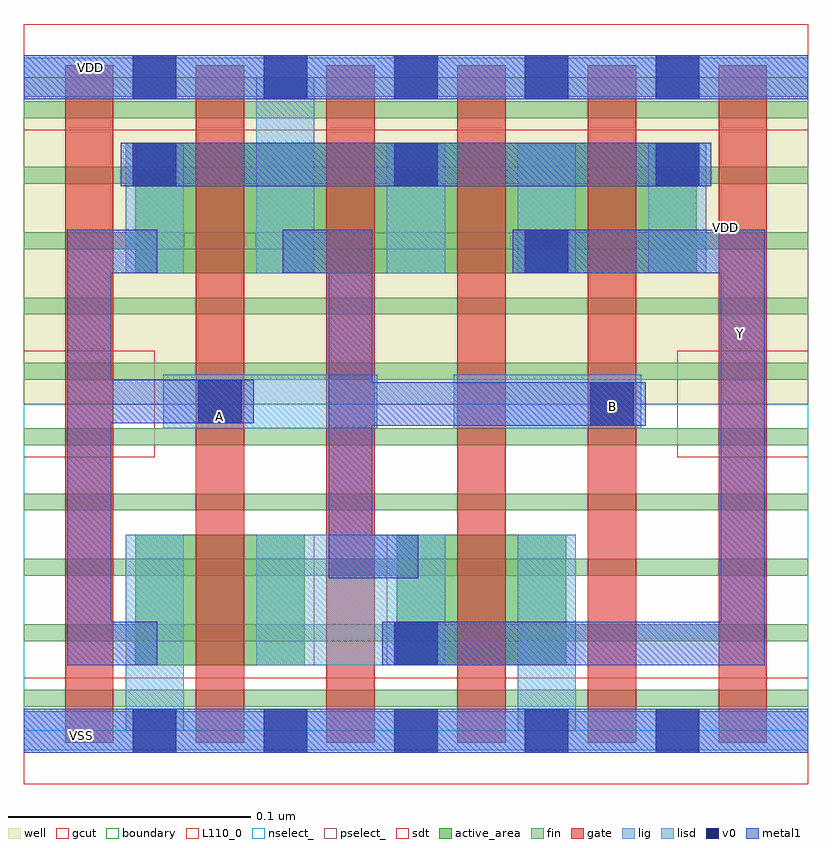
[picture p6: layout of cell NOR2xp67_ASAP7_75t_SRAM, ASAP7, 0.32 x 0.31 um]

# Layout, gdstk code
import gdstk
lib = gdstk.Library(unit=1e-6, precision=2.5e-10)
def R(c, l, rs):  # rectangles x0, y0, x1, y1
    for r in rs: c.add(gdstk.rectangle(r[:2], r[2:], *l))
def A(c, l, x, y, w, h, nx, ny, dx, dy):  # array of equal rectangles
    R(c, l, [(x+i*dx, y+j*dy, x+i*dx+w, y+j*dy+h) for i in range(nx) for j in range(ny)])
def P(c, l, *ps):  # polygons
    for p in ps: c.add(gdstk.Polygon(p, *l))
well = (1, 0)
fin = (2, 0)
gate = (7, 0)
gcut = (10, 0)
active_area = (11, 0)
nselect_ = (12, 0)
pselect_ = (13, 0)
lig = (16, 0)
lisd = (17, 0)
v0 = (18, 0)
metal1 = (19, 0)
sdt = (88, 0)
boundary = (100, 0)
L110_0 = (110, 0)

nor2xp67_asap7_75t_sram = lib.new_cell('NOR2xp67_ASAP7_75t_SRAM')
R(nor2xp67_asap7_75t_sram, well, [(0,0.135,0.324,0.27)])
A(nor2xp67_asap7_75t_sram, fin, 0, 0.01, 0.324, 0.007, 1, 10, 0, 0.027)
A(nor2xp67_asap7_75t_sram, gate, 0.017, -0.005, 0.02, 0.28, 6, 1, 0.054, 0)
R(nor2xp67_asap7_75t_sram, gcut, [(0,-0.022,0.324,0.022), (0,0.113,0.054,0.157), (0.27,0.113,0.324,0.157), (0,0.248,0.324,0.292)])
R(nor2xp67_asap7_75t_sram, active_area, [(0.046,0.027,0.116,0.081), (0.154,0.027,0.224,0.081), (0.046,0.189,0.278,0.243)])
R(nor2xp67_asap7_75t_sram, nselect_, [(0,0,0.324,0.135)])
R(nor2xp67_asap7_75t_sram, pselect_, [(0,0.135,0.324,0.27)])
R(nor2xp67_asap7_75t_sram, lig, [(0,-0.008,0.324,0.008), (0.0575,0.125,0.146,0.147), (0.1775,0.125,0.255,0.147), (0,0.262,0.324,0.278)])
A(nor2xp67_asap7_75t_sram, lisd, 0.15, 0.189, 0.024, 0.054, 3, 1, 0.054, 0)
R(nor2xp67_asap7_75t_sram, lisd, [(0.042,0,0.066,0.081), (0.204,0,0.228,0.081), (0.096,0.027,0.174,0.081), (0.042,0.189,0.066,0.243), (0.096,0.189,0.12,0.27)])
A(nor2xp67_asap7_75t_sram, v0, 0.045, -0.009, 0.018, 0.018, 5, 2, 0.054, 0.27)
A(nor2xp67_asap7_75t_sram, v0, 0.045, 0.225, 0.018, 0.018, 3, 1, 0.108, 0)
R(nor2xp67_asap7_75t_sram, v0, [(0.153,0.027,0.171,0.045), (0.234,0.126,0.252,0.144), (0.072,0.127,0.09,0.145), (0.207,0.189,0.225,0.207)])
R(nor2xp67_asap7_75t_sram, metal1, [(0,-0.009,0.324,0.009), (0.04,0.225,0.284,0.243), (0,0.261,0.324,0.279)])
P(nor2xp67_asap7_75t_sram, metal1, [(0.095,0.145),(0.036,0.145),(0.036,0.189),(0.055,0.189),(0.055,0.207),(0.018,0.207),(0.018,0.027),(0.055,0.027),(0.055,0.045),(0.036,0.045),(0.036,0.127),(0.095,0.127)],
  [(0.257,0.144),(0.144,0.144),(0.144,0.207),(0.107,0.207),(0.107,0.189),(0.126,0.189),(0.126,0.063),(0.163,0.063),(0.163,0.081),(0.144,0.081),(0.144,0.126),(0.257,0.126)],
  [(0.306,0.207),(0.202,0.207),(0.202,0.189),(0.288,0.189),(0.288,0.045),(0.148,0.045),(0.148,0.027),(0.306,0.027)])
A(nor2xp67_asap7_75t_sram, sdt, 0.042, 0.027, 0.024, 0.054, 4, 1, 0.054, 0)
A(nor2xp67_asap7_75t_sram, sdt, 0.042, 0.189, 0.024, 0.054, 5, 1, 0.054, 0)
R(nor2xp67_asap7_75t_sram, boundary, [(0,0,0.324,0.27)])
R(nor2xp67_asap7_75t_sram, L110_0, [(0,0,0.324,0.27)])
nor2xp67_asap7_75t_sram.add(gdstk.Label('Y', (0.296,0.164), layer=19, texttype=251))
nor2xp67_asap7_75t_sram.add(gdstk.Label('B', (0.243,0.134), layer=19, texttype=251))
nor2xp67_asap7_75t_sram.add(gdstk.Label('A', (0.081,0.13), layer=19, texttype=251))
nor2xp67_asap7_75t_sram.add(gdstk.Label('Y', (0.296,0.164), layer=19, texttype=251))
nor2xp67_asap7_75t_sram.add(gdstk.Label('VDD', (0.0275,0.274), layer=19, texttype=251))
nor2xp67_asap7_75t_sram.add(gdstk.Label('VSS', (0.024,-0.002), layer=19, texttype=251))
nor2xp67_asap7_75t_sram.add(gdstk.Label('VDD', (0.29,0.208), layer=1, texttype=251))
nor2xp67_asap7_75t_sram.add(gdstk.Label('VSS', (0.359,0.207), layer=3, texttype=251))

lib.write_gds('NOR2xp67_ASAP7_75t_SRAM.gds')
